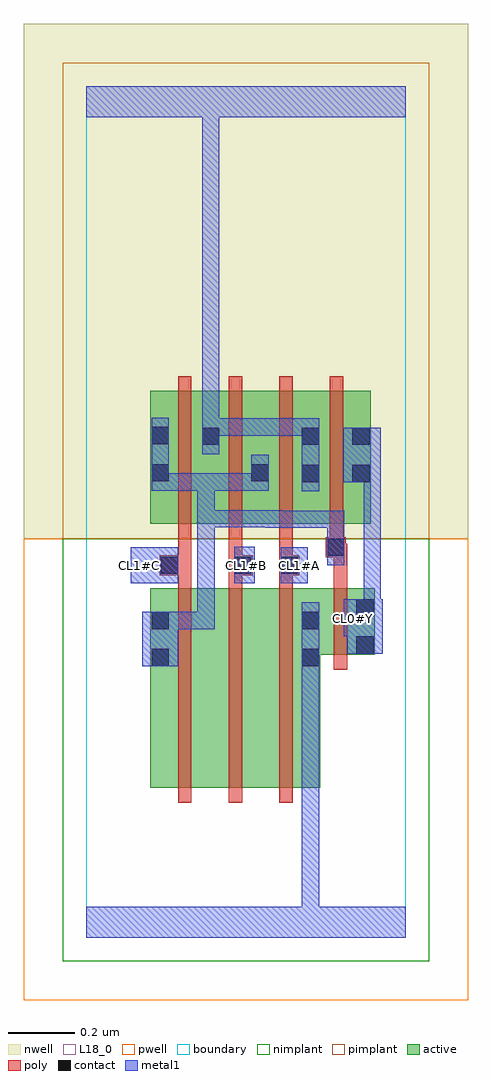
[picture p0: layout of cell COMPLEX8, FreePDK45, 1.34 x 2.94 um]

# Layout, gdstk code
import gdstk
lib = gdstk.Library(unit=1e-6, precision=1e-09)
def R(c, l, rs):  # rectangles x0, y0, x1, y1
    for r in rs: c.add(gdstk.rectangle(r[:2], r[2:], *l))
def A(c, l, x, y, w, h, nx, ny, dx, dy):  # array of equal rectangles
    R(c, l, [(x+i*dx, y+j*dy, x+i*dx+w, y+j*dy+h) for i in range(nx) for j in range(ny)])
active = (1, 0)
pwell = (2, 0)
nwell = (3, 0)
nimplant = (4, 0)
pimplant = (5, 0)
poly = (9, 0)
contact = (10, 0)
metal1 = (11, 0)
L18_0 = (18, 0)
boundary = (235, 0)

complex8 = lib.new_cell('COMPLEX8')
A(complex8, active, 0.492, 1.244, 0.06, 0.4, 3, 1, 0.152, 0)
R(complex8, active, [(0.192,0.45,0.372,1.05), (0.372,0.45,0.524,1.05), (0.524,0.45,0.704,1.05), (0.644,0.45,0.704,1.05), (0.192,0.556,0.252,1.05), (0.644,0.85,0.868,1.05), (0.808,0.85,0.868,1.05), (0.192,1.244,0.252,1.644), (0.192,1.244,0.404,1.644), (0.344,1.244,0.404,1.644), (0.344,1.244,0.552,1.644), (0.492,1.244,0.704,1.644), (0.644,1.244,0.856,1.644)])
R(complex8, pwell, [(-0.188,-0.188,1.148,1.2)])
R(complex8, nwell, [(-0.188,1.2,1.148,2.748)])
R(complex8, nimplant, [(-0.072,-0.072,1.032,1.2)])
R(complex8, pimplant, [(-0.072,1.2,1.032,2.632)])
A(complex8, poly, 0.276, 0.406, 0.04, 0.688, 3, 1, 0.152, 0)
A(complex8, poly, 0.276, 1.054, 0.04, 0.076, 3, 1, 0.152, 0)
A(complex8, poly, 0.276, 1.11, 0.04, 0.13, 3, 1, 0.152, 0)
A(complex8, poly, 0.276, 1.2, 0.04, 0.488, 4, 1, 0.152, 0)
R(complex8, poly, [(0.744,0.806,0.784,1.094), (0.744,1.054,0.784,1.184), (0.22,1.09,0.316,1.15), (0.428,1.09,0.5,1.15), (0.58,1.09,0.64,1.15), (0.276,1.11,0.316,1.15), (0.276,1.11,0.316,1.15), (0.428,1.11,0.468,1.15), (0.428,1.11,0.468,1.15), (0.58,1.11,0.62,1.15), (0.58,1.11,0.62,1.15), (0.72,1.144,0.78,1.204), (0.74,1.144,0.78,1.184), (0.74,1.144,0.784,1.184), (0.732,1.164,0.772,1.24)])
R(complex8, contact, [(0.196,0.816,0.248,0.868), (0.648,0.816,0.7,0.868), (0.812,0.854,0.864,0.906), (0.196,0.928,0.248,0.98), (0.648,0.928,0.7,0.98), (0.812,0.966,0.864,1.018), (0.224,1.094,0.276,1.146), (0.444,1.094,0.496,1.146), (0.584,1.094,0.636,1.146), (0.724,1.148,0.776,1.2), (0.648,1.37,0.7,1.422), (0.8,1.37,0.852,1.422), (0.196,1.372,0.248,1.424), (0.496,1.372,0.548,1.424), (0.348,1.482,0.4,1.534), (0.648,1.482,0.7,1.534), (0.8,1.482,0.852,1.534), (0.196,1.484,0.248,1.536)])
R(complex8, metal1, [(0,0,0.96,0.092), (0.648,0.04,0.7,0.84), (0.648,0.788,0.7,0.84), (0.648,0.788,0.7,0.84), (0.648,0.788,0.7,0.84), (0.648,0.788,0.7,0.84), (0.648,0.788,0.7,0.84), (0.648,0.788,0.7,0.84), (0.648,0.788,0.7,0.84), (0.648,0.788,0.7,0.84), (0.648,0.788,0.7,1.008), (0.168,0.816,0.276,0.98), (0.784,0.854,0.892,1.018), (0.774,0.906,0.886,1.018), (0.224,0.928,0.276,0.98), (0.224,0.928,0.276,0.98), (0.224,0.928,0.386,0.98), (0.334,0.928,0.386,0.98), (0.334,0.928,0.386,1.286), (0.784,0.966,0.836,1.018), (0.834,0.966,0.886,1.422), (0.134,1.066,0.276,1.174), (0.444,1.066,0.506,1.176), (0.584,1.066,0.666,1.174), (0.724,1.12,0.776,1.284), (0.538,1.232,0.7,1.284), (0.538,1.232,0.59,1.286), (0.648,1.232,0.7,1.284), (0.648,1.232,0.776,1.284), (0.334,1.234,0.386,1.286), (0.334,1.234,0.386,1.286), (0.334,1.234,0.386,1.286), (0.334,1.234,0.386,1.286), (0.334,1.234,0.386,1.286), (0.334,1.234,0.59,1.286), (0.334,1.234,0.386,1.396), (0.538,1.234,0.59,1.286), (0.538,1.234,0.59,1.286), (0.648,1.342,0.7,1.562), (0.196,1.344,0.248,1.396), (0.196,1.344,0.248,1.396), (0.196,1.344,0.248,1.564), (0.196,1.344,0.386,1.396), (0.334,1.344,0.386,1.396), (0.334,1.344,0.386,1.396), (0.334,1.344,0.386,1.396), (0.334,1.344,0.548,1.396), (0.496,1.344,0.548,1.452), (0.772,1.37,0.886,1.534), (0.834,1.37,0.886,1.422), (0.834,1.37,0.886,1.422), (0.348,1.454,0.4,1.562), (0.348,1.51,0.4,1.562), (0.348,1.51,0.4,1.562), (0.348,1.51,0.4,1.562), (0.348,1.51,0.4,1.562), (0.348,1.51,0.4,1.562), (0.348,1.51,0.4,1.562), (0.348,1.51,0.4,1.562), (0.348,1.51,0.4,1.562), (0.348,1.51,0.4,1.562), (0.348,1.51,0.4,1.562), (0.348,1.51,0.4,1.562), (0.348,1.51,0.4,1.562), (0.348,1.51,0.4,1.562), (0.348,1.51,0.4,1.562), (0.348,1.51,0.4,1.562), (0.348,1.51,0.4,1.562), (0.348,1.51,0.556,1.562), (0.348,1.51,0.4,2.52), (0.504,1.51,0.556,1.562), (0.504,1.51,0.556,1.562), (0.504,1.51,0.556,1.562), (0.504,1.51,0.7,1.562), (0,2.468,0.96,2.56), (0.348,2.468,0.4,2.52), (0.348,2.468,0.4,2.52)])
R(complex8, L18_0, [(0,0,0.96,0.092), (0.648,0.04,0.7,0.84), (0.648,0.788,0.7,0.84), (0.648,0.788,0.7,0.84), (0.648,0.788,0.7,0.84), (0.648,0.788,0.7,0.84), (0.648,0.788,0.7,0.84), (0.648,0.788,0.7,0.84), (0.648,0.788,0.7,0.84), (0.648,0.788,0.7,0.84), (0.648,0.788,0.7,1.008), (0.784,0.854,0.892,1.018), (0.774,0.906,0.886,1.018), (0.774,0.934,0.826,0.986), (0.784,0.966,0.836,1.018), (0.834,0.966,0.886,1.422), (0.134,1.066,0.276,1.174), (0.444,1.066,0.506,1.176), (0.584,1.066,0.666,1.174), (0.134,1.094,0.186,1.146), (0.454,1.094,0.506,1.146), (0.614,1.094,0.666,1.146), (0.648,1.342,0.7,1.562), (0.772,1.37,0.886,1.534), (0.834,1.37,0.886,1.422), (0.834,1.37,0.886,1.422), (0.348,1.454,0.4,1.562), (0.348,1.51,0.4,1.562), (0.348,1.51,0.4,1.562), (0.348,1.51,0.4,1.562), (0.348,1.51,0.4,1.562), (0.348,1.51,0.4,1.562), (0.348,1.51,0.4,1.562), (0.348,1.51,0.4,1.562), (0.348,1.51,0.4,1.562), (0.348,1.51,0.4,1.562), (0.348,1.51,0.4,1.562), (0.348,1.51,0.4,1.562), (0.348,1.51,0.4,1.562), (0.348,1.51,0.4,1.562), (0.348,1.51,0.4,1.562), (0.348,1.51,0.4,1.562), (0.348,1.51,0.4,1.562), (0.348,1.51,0.4,2.52), (0.348,1.51,0.556,1.562), (0.504,1.51,0.556,1.562), (0.504,1.51,0.556,1.562), (0.504,1.51,0.556,1.562), (0.504,1.51,0.7,1.562), (0,2.468,0.96,2.56), (0.348,2.468,0.4,2.52), (0.348,2.468,0.4,2.52)])
R(complex8, boundary, [(0,0,0.96,2.56)])
complex8.add(gdstk.Label('CL0#Y', (0.8,0.96), layer=11, texttype=0))
complex8.add(gdstk.Label('CL1#A', (0.64,1.12), layer=11, texttype=0))
complex8.add(gdstk.Label('CL1#B', (0.48,1.12), layer=11, texttype=0))
complex8.add(gdstk.Label('CL1#C', (0.16,1.12), layer=11, texttype=0))

lib.write_gds('COMPLEX8.gds')
